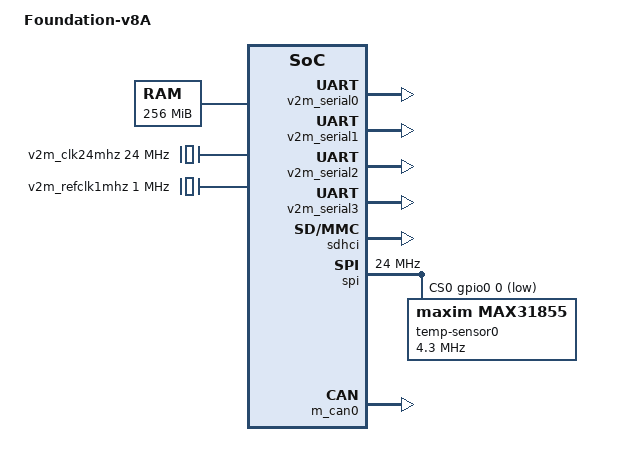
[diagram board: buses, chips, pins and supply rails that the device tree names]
/******************************************************************************
 *                                                                            *
 * Copyright 2024 Lukas Jünger, Nils Bosbach                                  *
 *                                                                            *
 * Licensed under the Apache License, Version 2.0 (the "License");            *
 * you may not use this file except in compliance with the License.           *
 * You may obtain a copy of the License at                                    *
 *                                                                            *
 *     http://www.apache.org/licenses/LICENSE-2.0                             *
 *                                                                            *
 * Unless required by applicable law or agreed to in writing, software        *
 * distributed under the License is distributed on an "AS IS" BASIS,          *
 * WITHOUT WARRANTIES OR CONDITIONS OF ANY KIND, either express or implied.   *
 * See the License for the specific language governing permissions and        *
 * limitations under the License.                                             *
 *                                                                            *
 ******************************************************************************/

#ifndef NRCPU
#error NRCPU undefined
#endif


#ifndef NVDLA
#define NVDLA 0
#endif

#define IRQ_TYPE_LEVEL_HIGH 4
#define GIC_SPI 0
#define GIC_PPI 1

#define GPIO_ACTIVE_HIGH 0
#define GPIO_ACTIVE_LOW 1

/dts-v1/;

/ {
    model = "Foundation-v8A";
    compatible = "arm,foundation-aarch64", "arm,vexpress";
    interrupt-parent = <&gic>;
    #address-cells = <2>;
    #size-cells = <2>;

    aliases {
        serial0 = &v2m_serial0;
        serial1 = &v2m_serial1;
        serial2 = &v2m_serial2;
        serial3 = &v2m_serial3;
    };

    cpus {
        #address-cells = <2>;
        #size-cells = <0>;

        cpu0: cpu@0 {
            device_type = "cpu";
            compatible = "arm,armv8";
            reg = <0x0 0x0>;
        };

#if NRCPU > 1
        cpu1: cpu@1 {
            device_type = "cpu";
            compatible = "arm,armv8";
            enable-method = "spin-table";
            cpu-release-addr = <0x0 0x00004000>;
            reg = <0x0 0x1>;
        };
#if NRCPU > 2
        cpu2: cpu@2 {
            device_type = "cpu";
            compatible = "arm,armv8";
            enable-method = "spin-table";
            cpu-release-addr = <0x0 0x00004000>;
            reg = <0x0 0x2>;
        };
        cpu3: cpu@3 {
            device_type = "cpu";
            compatible = "arm,armv8";
            enable-method = "spin-table";
            cpu-release-addr = <0x0 0x00004000>;
            reg = <0x0 0x3>;
        };
#if NRCPU > 4
        cpu4: cpu@4 {
            device_type = "cpu";
            compatible = "arm,armv8";
            enable-method = "spin-table";
            cpu-release-addr = <0x0 0x00004000>;
            reg = <0x0 0x4>;
        };
        cpu5: cpu@5 {
            device_type = "cpu";
            compatible = "arm,armv8";
            enable-method = "spin-table";
            cpu-release-addr = <0x0 0x00004000>;
            reg = <0x0 0x5>;
        };
        cpu6: cpu@6 {
            device_type = "cpu";
            compatible = "arm,armv8";
            enable-method = "spin-table";
            cpu-release-addr = <0x0 0x00004000>;
            reg = <0x0 0x6>;
        };
        cpu7: cpu@7 {
            device_type = "cpu";
            compatible = "arm,armv8";
            enable-method = "spin-table";
            cpu-release-addr = <0x0 0x00004000>;
            reg = <0x0 0x7>;
        };
#endif // NRCPU > 4
#endif // NRCPU > 2
#endif // NRCPU > 1
    };

    chosen {
        bootargs = "earlycon console=ttyAMA0 root=/dev/mmcblk0p1 rootwait debug";
        stdout-path = "/amba/uart@10009000";

        #address-cells = <2>;
        #size-cells = <2>;
        ranges;
        fb0: framebuffer@20000000 {
            compatible = "simple-framebuffer";
            reg = <0x0 0x20000000 0x0 (1280*720*4)>;
            width = <1280>;
            height = <720>;
            stride = <(1280*4)>;
            format = "a8r8g8b8";
        };
    };

    reserved-memory {
        #address-cells = <2>;
        #size-cells = <2>;
        ranges;

        framebuffer@20000000 {
            reg = <0x0 0x20000000 0x0 0x400000>;
            no-map;
        };
    };

    memory@0 {
        device_type= "memory";
        reg = <0x0 0x00000000 0x0 0x10000000>;
    };

    timer {
        compatible = "arm,armv8-timer", "arm,armv7-timer";
        interrupts = <GIC_PPI 13 0xFF04>, // GT_S
                      <GIC_PPI 14 0xFF04>, // GT_NS
                      <GIC_PPI 11 0xFF04>, // GT_VIRT
                      <GIC_PPI 10 0xFF04>; // GT_HYP

        clock-frequency = <1000000000>;
    };

    amba {
        #address-cells = <2>;
        #size-cells = <2>;
        compatible = "arm,amba-bus", "simple-bus";
        ranges;

        rng: rng@10007000 {
            compatible = "timeriomem_rng";
            reg = <0x0 0x10007000 0x0 0x4>;
            quality = <1000>;
            period = <0>;
        };

        v2m_serial0: uart@10009000 {
            compatible = "arm,pl011", "arm,primecell";
            reg = <0x0 0x10009000 0x0 0x1000>;
            interrupts = <GIC_SPI 5 IRQ_TYPE_LEVEL_HIGH>;
            clocks = <&v2m_clk24mhz>, <&v2m_clk24mhz>;
            clock-names = "uartclk", "apb_pclk";
        };

        v2m_serial1: uart@1000a000 {
            compatible = "arm,pl011", "arm,primecell";
            reg = <0x0 0x1000a000 0x0 0x1000>;
            interrupts = <GIC_SPI 6 IRQ_TYPE_LEVEL_HIGH>;
            clocks = <&v2m_clk24mhz>, <&v2m_clk24mhz>;
            clock-names = "uartclk", "apb_pclk";
        };

        v2m_serial2: uart@1000b000 {
            compatible = "arm,pl011", "arm,primecell";
            reg = <0x0 0x1000b000 0x0 0x1000>;
            interrupts = <GIC_SPI 7 IRQ_TYPE_LEVEL_HIGH>;
            clocks = <&v2m_clk24mhz>, <&v2m_clk24mhz>;
            clock-names = "uartclk", "apb_pclk";
        };

        v2m_serial3: uart@1000c000 {
            compatible = "arm,pl011", "arm,primecell";
            reg = <0x0 0x1000c000 0x0 0x1000>;
            interrupts = <GIC_SPI 8 IRQ_TYPE_LEVEL_HIGH>;
            clocks = <&v2m_clk24mhz>, <&v2m_clk24mhz>;
            clock-names = "uartclk", "apb_pclk";
        };

        gic: interrupt-controller@10140000 {
            compatible = "arm,gic-400";
            #interrupt-cells = <3>;
            #address-cells = <2>;
            #size-cells = <2>;
            interrupt-controller;
            reg = <0x00000000 0x10140000 0x00000000 0x1000>, // GICD
                  <0x00000000 0x10141000 0x00000000 0x2000>, // GICC
                  <0x00000000 0x10143000 0x00000000 0x2000>, // GICVI
                  <0x00000000 0x10145000 0x00000000 0x2000>; // GICVC
            ranges;
        };

        lan0: lan9118@10010000 {
            compatible = "smsc,lan9118", "smsc,lan9115";
            reg = <0x0 0x10010000 0x0 0x10000>;
            interrupts = <GIC_SPI 9 IRQ_TYPE_LEVEL_HIGH>;
            reg-io-width = <4>;
            phy-mode = "mii";
        };

        sdhci: mmc@1000d000 {
            compatible = "fujitsu,mb86s70-sdhci-3.0";
            reg = <0x0 0x1000d000 0x0 0x1000>;
            interrupts = <GIC_SPI 10 IRQ_TYPE_LEVEL_HIGH>;
            clocks = <&v2m_clk24mhz>, <&v2m_clk24mhz>;
            clock-names = "iface", "core";
        };

        spi: spi@10020000 {
            #address-cells = <0x1>;
            #size-cells = <0x0>;
            compatible = "opencores,tiny-spi-rtlsvn2";
            reg = <0x0 0x10020000 0x0 0x1000>;
            interrupts = <GIC_SPI 11 IRQ_TYPE_LEVEL_HIGH>;
            cs-gpios = <&gpio0 0 GPIO_ACTIVE_LOW>;
            num-chipselects = <1>;
            clock-frequency = <24000000>;
            baud-width = <32>;

            temp-sensor0@0 {
                compatible = "maxim,max31855";
                reg = <0>;
                spi-max-frequency = <4300000>;
            };
        };

        m_can0: can@10021000 {
            compatible = "bosch,m_can";
            reg = <0x0 0x10021000 0x0 0x1000>, <0x0 0x10022000 0x0 0x4000>;
            reg-names = "m_can", "message_ram";
            interrupts = <GIC_SPI  14 IRQ_TYPE_LEVEL_HIGH>,
                         <GIC_SPI  15 IRQ_TYPE_LEVEL_HIGH>;
            interrupt-names = "int0", "int1";
            clocks = <&v2m_clk24mhz>,
                     <&v2m_clk24mhz>;
            clock-names = "hclk", "cclk";
            bosch,mram-cfg = <
                0x0
                0  // 11-bit Filter	0-128 elements / 0-128 words
                0  // 29-bit Filter	0-64  elements / 0-128 words
                32 // Rx FIFO 0	    0-64  elements / 0-1152 words
                0  // Rx FIFO 1	    0-64  elements / 0-1152 words
                0  // Rx Buffers	0-64  elements / 0-1152 words
                2  // Tx Event FIFO	0-32  elements / 0-64 words
                2  // Tx Buffers	0-32  elements / 0-576 words
            >;
        };

        gpio0: gpio@1000f000 {
            compatible = "brcm,bcm6345-gpio";
            reg = <0x0 0x1000f000 0x0 0x4>;
            reg-names = "dat";
            gpio-controller;
            #gpio-cells = <2>;
        };

        rtc0: rtc@1000e000 {
            compatible = "maxim,ds1742";
            reg = <0x0 0x1000e000 0x0 0x800>;
        };

#if NVDLA == 1
        nvdla: nvdla@10200000 {
            compatible = "nvidia,nvdla_os_initial";
            reg = <0x0 0x10200000 0x0 0x20000>;
            interrupts = <GIC_SPI 176 IRQ_TYPE_LEVEL_HIGH>;
        };

        nvdlaextmem: extmem@C0000000 {
            compatible = "nvidia,nvdla-extmem";
            reg = <0x0 0xC0000000 0x0 0x40000000>;
        };
#endif
    };

    v2m_clk24mhz: clk24mhz {
        compatible = "fixed-clock";
        #clock-cells = <0>;
        clock-frequency = <24000000>;
        clock-output-names = "v2m:clk24mhz", "iface", "core";
    };

    v2m_refclk1mhz: refclk1mhz {
        compatible = "fixed-clock";
        #clock-cells = <0>;
        clock-frequency = <1000000>;
        clock-output-names = "v2m:refclk1mhz";
    };
};
